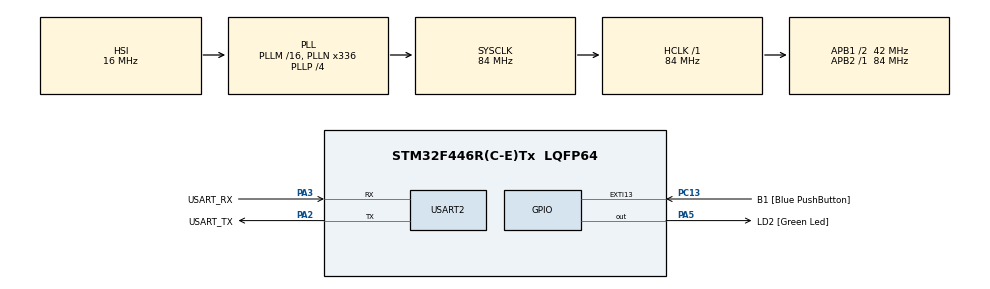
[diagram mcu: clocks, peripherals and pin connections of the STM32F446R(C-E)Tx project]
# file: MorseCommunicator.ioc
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Mcu.Family=STM32F4
Mcu.Name=STM32F446R(C-E)Tx
Mcu.Package=LQFP64
NVIC.PriorityGroup=NVIC_PRIORITYGROUP_0
NVIC.USART2_IRQn=true\:0\:0\:false\:false\:true\:true\:true\:true
PA13.GPIO_Label=TMS
PA13.Mode=Serial_Wire
PA13.Signal=SYS_JTMS-SWDIO
PA14.GPIO_Label=TCK
PA14.Mode=Serial_Wire
PA14.Signal=SYS_JTCK-SWCLK
PA2.GPIO_Label=USART_TX
PA2.Mode=Asynchronous
PA2.Signal=USART2_TX
PA3.GPIO_Label=USART_RX
PA3.Mode=Asynchronous
PA3.Signal=USART2_RX
PA5.GPIO_Label=LD2 [Green Led]
PA5.Signal=GPIO_Output
PB3.GPIO_Label=SWO
PB3.Signal=SYS_JTDO-SWO
PC13.GPIO_Label=B1 [Blue PushButton]
PC13.GPIO_ModeDefaultEXTI=GPIO_MODE_IT_FALLING
PC13.Signal=GPXTI13
PC14-OSC32_IN.Mode=LSE-External-Oscillator
PC14-OSC32_IN.Signal=RCC_OSC32_IN
PC15-OSC32_OUT.Mode=LSE-External-Oscillator
PC15-OSC32_OUT.Signal=RCC_OSC32_OUT
PH0-OSC_IN.Mode=HSE-External-Oscillator
PH0-OSC_IN.Signal=RCC_OSC_IN
PH1-OSC_OUT.Mode=HSE-External-Oscillator
PH1-OSC_OUT.Signal=RCC_OSC_OUT
ProjectManager.HeapSize=0x200
ProjectManager.StackSize=0x400
ProjectManager.TargetToolchain=STM32CubeIDE
RCC.48MHZClocksFreq_Value=84000000
RCC.AHBFreq_Value=84000000
RCC.APB1CLKDivider=RCC_HCLK_DIV2
RCC.APB1Freq_Value=42000000
RCC.APB1TimFreq_Value=84000000
RCC.APB2Freq_Value=84000000
RCC.APB2TimFreq_Value=84000000
RCC.CortexFreq_Value=84000000
RCC.FLatency-AdvancedSettings=FLASH_LATENCY_2
RCC.HCLKFreq_Value=84000000
RCC.HSE_VALUE=8000000
RCC.HSI_VALUE=16000000
RCC.PLLN=336
RCC.PLLP=RCC_PLLP_DIV4
RCC.SYSCLKFreq_VALUE=84000000
RCC.SYSCLKSource=RCC_SYSCLKSOURCE_PLLCLK
RCC.USBFreq_Value=168000000
RCC.VCOOutputFreq_Value=336000000
USART2.VirtualMode=VM_ASYNC
board=NUCLEO-F446RE

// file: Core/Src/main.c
/* USER CODE BEGIN Header */
/**
  ******************************************************************************
  * @file           : main.c
  * @brief          : Main program body
  ******************************************************************************
  * @attention
  *
  * Copyright (c) 2025 STMicroelectronics.
  * All rights reserved.
  *
  * This software is licensed under terms that can be found in the LICENSE file
  * in the root directory of this software component.
  * If no LICENSE file comes with this software, it is provided AS-IS.
  *
  ******************************************************************************
  */
/* USER CODE END Header */
#include "main.h"
#include <string.h>
#include <ctype.h>

/* USER CODE BEGIN PD */

#define MAX_TRANSMISSION_SIZE 100
#define TRANSMISSION_TIMEOUT 10
#define DIT_LENGTH 500
#define DAH_LENGTH 3 * DIT_LENGTH

/* USER CODE END PD */

UART_HandleTypeDef huart2;

/* USER CODE BEGIN PV */

uint8_t rx_data[2];
uint8_t rx_buffer[MAX_TRANSMISSION_SIZE];
uint8_t rx_idx = 0;
uint8_t transmission_ready = 0;
uint8_t begin_transmission = 0;

uint8_t message_prompt[18] = "Enter a message: \0";
uint8_t message_buffer_full[57] = "\n\rMax message length reached. Press any key to transmit.\0";
uint8_t message_begin_transmit[26] = "\n\rTransmission started\n\r\0";
uint8_t message_end_transmit[28] = "\n\rTransmission completed\n\r\0";

uint8_t letters[26][6] = {
  "01",
  "1000",
  "1010",
  "100",
  "0",
  "0010",
  "110",
  "0000",
  "00",
  "0111",
  "101",
  "0100",
  "11",
  "10",
  "111",
  "0110",
  "1101",
  "010",
  "000",
  "1",
  "001",
  "0001",
  "011",
  "1001",
  "1011",
  "1100"
};

uint8_t numbers[10][6] = {
  "11111",
  "01111",
  "00111",
  "00011",
  "00001",
  "00000",
  "10000",
  "11000",
  "11100",
  "11110"
};

/* USER CODE END PV */

void SystemClock_Config(void);
static void MX_GPIO_Init(void);
static void MX_USART2_UART_Init(void);

int main(void)
{

  /* MCU Configuration--------------------------------------------------------*/

  /* Reset of all peripherals, Initializes the Flash interface and the Systick. */
  HAL_Init();

  /* Configure the system clock */
  SystemClock_Config();

  /* Initialize all configured peripherals */
  MX_GPIO_Init();
  MX_USART2_UART_Init();
  /* USER CODE BEGIN 2 */

  HAL_UART_Transmit(&huart2, message_prompt, sizeof(message_prompt), TRANSMISSION_TIMEOUT);
  HAL_UART_Receive_IT(&huart2, rx_data, 1);

  /* USER CODE END 2 */

  /* Infinite loop */
  while (1)
  {

    /* USER CODE BEGIN 3 */

	if (begin_transmission == 1)
	{

	  HAL_UART_Transmit(&huart2, message_begin_transmit, sizeof(message_begin_transmit), TRANSMISSION_TIMEOUT);
	  for (int i = 0; i < rx_idx; i++)
	  {

	    if (rx_buffer[i] == ' ')
		{
		  HAL_Delay(7 * DIT_LENGTH); // gap between words
		}
		else
		{

          uint8_t * code;
          if ((rx_buffer[i] >= 'A' && rx_buffer[i] <= 'Z') || (rx_buffer[i] >= 'a' && rx_buffer[i] <= 'z'))
          {
            code = letters[tolower(rx_buffer[i]) - 97]; // 97 is conversion from ascii A-Za-z to letters table idx
          }
          else if (rx_buffer[i] >= '0' && rx_buffer[i] <= '9')
          {
            code = numbers[rx_buffer[i] - 48]; // 48 is conversion from ascii 0-9 to numbers table idx
          }
          else // invalid character
          {
            continue;
          }
		  for (int j = 0; code[j] != '\0'; j++)
		  {
		    HAL_GPIO_WritePin(GPIOA, GPIO_PIN_5, GPIO_PIN_SET);
		    if (code[j] == '1')
		    {
		      HAL_Delay(DAH_LENGTH);
		    }
		    else
		    {
		      HAL_Delay(DIT_LENGTH);
		    }
		    HAL_GPIO_WritePin(GPIOA, GPIO_PIN_5, GPIO_PIN_RESET);
		    HAL_Delay(DIT_LENGTH); // gap between dits/dahs
		  }
		  HAL_Delay(DAH_LENGTH); // gap between characters

		}

		HAL_UART_Transmit(&huart2, &rx_buffer[i], 1, TRANSMISSION_TIMEOUT); // echo char to screen after transmission
      }
	  HAL_UART_Transmit(&huart2, message_end_transmit, sizeof(message_end_transmit), TRANSMISSION_TIMEOUT);

	  // reset for next message
	  rx_idx = 0;
	  transmission_ready = 0;
	  begin_transmission = 0;
	  HAL_UART_Transmit(&huart2, message_prompt, sizeof(message_prompt), TRANSMISSION_TIMEOUT);
	  HAL_UART_Receive_IT(&huart2, rx_data, 1);

	}

  }
  /* USER CODE END 3 */
}

void SystemClock_Config(void)
{
  RCC_OscInitTypeDef RCC_OscInitStruct = {0};
  RCC_ClkInitTypeDef RCC_ClkInitStruct = {0};

  /** Configure the main internal regulator output voltage
  */
  __HAL_RCC_PWR_CLK_ENABLE();
  __HAL_PWR_VOLTAGESCALING_CONFIG(PWR_REGULATOR_VOLTAGE_SCALE3);

  /** Initializes the RCC Oscillators according to the specified parameters
  * in the RCC_OscInitTypeDef structure.
  */
  RCC_OscInitStruct.OscillatorType = RCC_OSCILLATORTYPE_HSI;
  RCC_OscInitStruct.HSIState = RCC_HSI_ON;
  RCC_OscInitStruct.HSICalibrationValue = RCC_HSICALIBRATION_DEFAULT;
  RCC_OscInitStruct.PLL.PLLState = RCC_PLL_ON;
  RCC_OscInitStruct.PLL.PLLSource = RCC_PLLSOURCE_HSI;
  RCC_OscInitStruct.PLL.PLLM = 16;
  RCC_OscInitStruct.PLL.PLLN = 336;
  RCC_OscInitStruct.PLL.PLLP = RCC_PLLP_DIV4;
  RCC_OscInitStruct.PLL.PLLQ = 2;
  RCC_OscInitStruct.PLL.PLLR = 2;
  if (HAL_RCC_OscConfig(&RCC_OscInitStruct) != HAL_OK)
  {
    Error_Handler();
  }

  /** Initializes the CPU, AHB and APB buses clocks
  */
  RCC_ClkInitStruct.ClockType = RCC_CLOCKTYPE_HCLK|RCC_CLOCKTYPE_SYSCLK
                              |RCC_CLOCKTYPE_PCLK1|RCC_CLOCKTYPE_PCLK2;
  RCC_ClkInitStruct.SYSCLKSource = RCC_SYSCLKSOURCE_PLLCLK;
  RCC_ClkInitStruct.AHBCLKDivider = RCC_SYSCLK_DIV1;
  RCC_ClkInitStruct.APB1CLKDivider = RCC_HCLK_DIV2;
  RCC_ClkInitStruct.APB2CLKDivider = RCC_HCLK_DIV1;

  if (HAL_RCC_ClockConfig(&RCC_ClkInitStruct, FLASH_LATENCY_2) != HAL_OK)
  {
    Error_Handler();
  }
}

static void MX_USART2_UART_Init(void)
{

  huart2.Instance = USART2;
  huart2.Init.BaudRate = 115200;
  huart2.Init.WordLength = UART_WORDLENGTH_8B;
  huart2.Init.StopBits = UART_STOPBITS_1;
  huart2.Init.Parity = UART_PARITY_NONE;
  huart2.Init.Mode = UART_MODE_TX_RX;
  huart2.Init.HwFlowCtl = UART_HWCONTROL_NONE;
  huart2.Init.OverSampling = UART_OVERSAMPLING_16;
  if (HAL_UART_Init(&huart2) != HAL_OK)
  {
    Error_Handler();
  }

}

static void MX_GPIO_Init(void)
{
  GPIO_InitTypeDef GPIO_InitStruct = {0};

  /* GPIO Ports Clock Enable */
  __HAL_RCC_GPIOC_CLK_ENABLE();
  __HAL_RCC_GPIOH_CLK_ENABLE();
  __HAL_RCC_GPIOA_CLK_ENABLE();
  __HAL_RCC_GPIOB_CLK_ENABLE();

  /*Configure GPIO pin Output Level */
  HAL_GPIO_WritePin(LD2_GPIO_Port, LD2_Pin, GPIO_PIN_RESET);

  /*Configure GPIO pin : B1_Pin */
  GPIO_InitStruct.Pin = B1_Pin;
  GPIO_InitStruct.Mode = GPIO_MODE_IT_FALLING;
  GPIO_InitStruct.Pull = GPIO_NOPULL;
  HAL_GPIO_Init(B1_GPIO_Port, &GPIO_InitStruct);

  /*Configure GPIO pin : LD2_Pin */
  GPIO_InitStruct.Pin = LD2_Pin;
  GPIO_InitStruct.Mode = GPIO_MODE_OUTPUT_PP;
  GPIO_InitStruct.Pull = GPIO_NOPULL;
  GPIO_InitStruct.Speed = GPIO_SPEED_FREQ_LOW;
  HAL_GPIO_Init(LD2_GPIO_Port, &GPIO_InitStruct);

}

/* USER CODE BEGIN 4 */

void HAL_UART_RxCpltCallback(UART_HandleTypeDef *huart)
{

  if (transmission_ready || rx_data[0] == '\r')
  {

	begin_transmission = 1; // triggers LED transmission code in main while loop

  }
  else
  {

	// adds received character to buffer
    rx_buffer[rx_idx] = rx_data[0];
    HAL_UART_Transmit(&huart2, &rx_buffer[rx_idx], 1, TRANSMISSION_TIMEOUT);
    rx_idx++;

    if (rx_idx == MAX_TRANSMISSION_SIZE)
    {
      HAL_UART_Transmit(&huart2, message_buffer_full, sizeof(message_buffer_full), TRANSMISSION_TIMEOUT);
      transmission_ready = 1;
    }

    HAL_UART_Receive_IT(&huart2, rx_data, 1);

  }

}

/* USER CODE END 4 */

void Error_Handler(void)
{
  __disable_irq();
  while (1)
  {
  }
}
